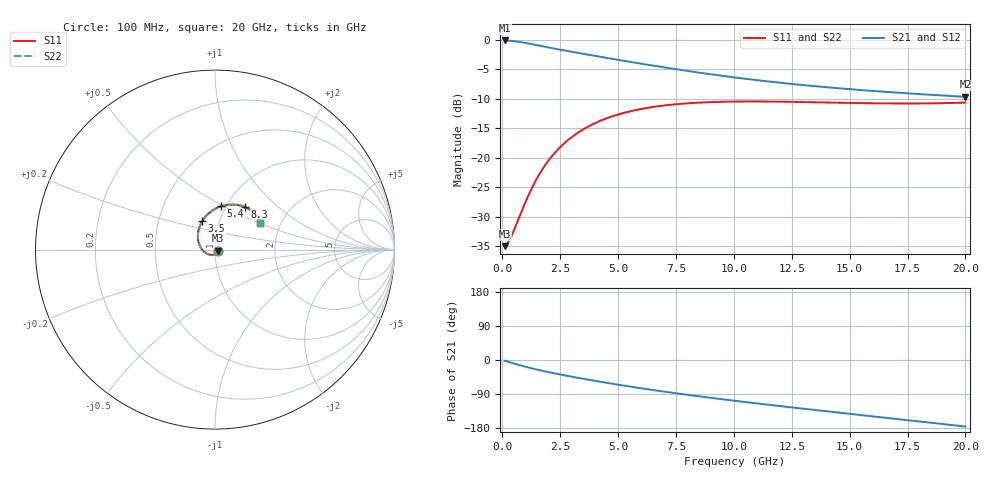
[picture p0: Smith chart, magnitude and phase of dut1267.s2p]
! Touchstone file exported from HFSS 2024.1.0
!  File:  C:/UserFiles/LocalFiles/RDL_TSV_Batchsim/temp_RDL_TSV_1267_1780273646.aedt
!  Generated:  08:44:44 AM Jun  1, 2026
!  Design:  RDL_TSV
!  Project:  temp_RDL_TSV_1267_1780273646
!  Setup:  Setup1
!  Solution:  Sweep
! Variables:
!  dtsv = 14.35um
!  hbump = 3um
!  htsv = 97.18um
!  ldown = 423.5um
!  lrdl = 169.57um
!  p = 40
!  p1 = 57.53um
!  rhole = 10um
!  subl = 1948.78um
!  t = 450um
!  tdown = 2.9um
!  trdl = 2.34um
!  viad = 10um
!  wdown = 12.07um
!  wrdl = 23.81um
!  xbump = 18um
# GHz S MA R 50.000000
! Terminal data exported
! Port[1] = TM1_1_T1
! Port[2] = TM1_4_T1
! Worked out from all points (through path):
!   200 points, 100 MHz to 20 GHz, reference 50 ohm
!   highest |S21| = -0.16 dB at 100 MHz (marker M1); lowest = -9.7 dB at 20 GHz (marker M2)
!   group delay of S21, straight-line fit = 22.5 ps
!   lowest |S11| = -35.0 dB at 100 MHz (marker M3), VSWR 1.04, Z = 51.7 - j0.551 ohm
!   |S11| at or under -10 dB: start of sweep to end of sweep
!   |S22| runs from -35.0 to -10.5 dB; largest |S21 - S12| = 8.2e-15
!   S11 on the Smith chart (normalised r, x): 100 MHz: 1.03, -0.01; 3.5 GHz: 0.83, +0.27; 5.4 GHz: 0.95, +0.49; 8.3 GHz: 1.22, +0.63; 20 GHz: 1.57, +0.51
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0.1  0.01775 -17.4  0.9818 -1.9  0.9818 -1.9  0.01775 -17.5
! Gamma 0 0 0 0
! Port Impedance 50 0 50 0
0.2  0.01858 -34.6  0.9799 -3.8  0.9799 -3.8  0.01858 -34.6
0.4  0.02177 -67.1  0.973 -7.5  0.973 -7.5  0.02178 -67.0
0.9  0.03763 -129.1  0.9429 -16.2  0.9429 -16.2  0.03762 -129.0
1.3  0.05628 -161.9  0.9118 -22.4  0.9118 -22.4  0.05623 -161.8
1.5  0.06679 -174.6  0.8957 -25.3  0.8957 -25.3  0.0667 -174.5
1.8  0.08331 169.3  0.8718 -29.5  0.8718 -29.5  0.08317 169.4
2.2  0.1058 152.1  0.8415 -34.6  0.8415 -34.6  0.1056 152.1
2.6  0.1279 138.1  0.8132 -39.4  0.8132 -39.4  0.1276 138.2
3  0.149 126.5  0.7867 -44.1  0.7867 -44.1  0.1487 126.6
3.5  0.1735 114.3  0.7559 -49.6  0.7559 -49.6  0.173 114.4
4.4  0.2112 97.0  0.7047 -59.1  0.7047 -59.1  0.2105 97.0
5.4  0.2433 82.2  0.6529 -69.0  0.6529 -69.0  0.2426 82.2
6.8  0.2733 66.7  0.5888 -81.8  0.5888 -81.8  0.2724 66.7
8.3  0.2906 54.7  0.5309 -94.3  0.5309 -94.3  0.2896 54.6
10.1  0.2982 44.5  0.4753 -108.1  0.4753 -108.1  0.2971 44.4
11.7  0.298 38.3  0.4366 -119.5  0.4366 -119.5  0.2968 38.2
13.4  0.2942 33.9  0.404 -131.3  0.404 -131.3  0.2931 33.8
15  0.2901 31.5  0.3795 -142.1  0.3795 -142.1  0.289 31.4
16.7  0.2873 30.4  0.3585 -153.4  0.3585 -153.4  0.2861 30.3
18.3  0.2876 30.2  0.342 -164.1  0.342 -164.1  0.2864 30.1
20  0.2921 30.6  0.3271 -175.5  0.3271 -175.5  0.2909 30.5
